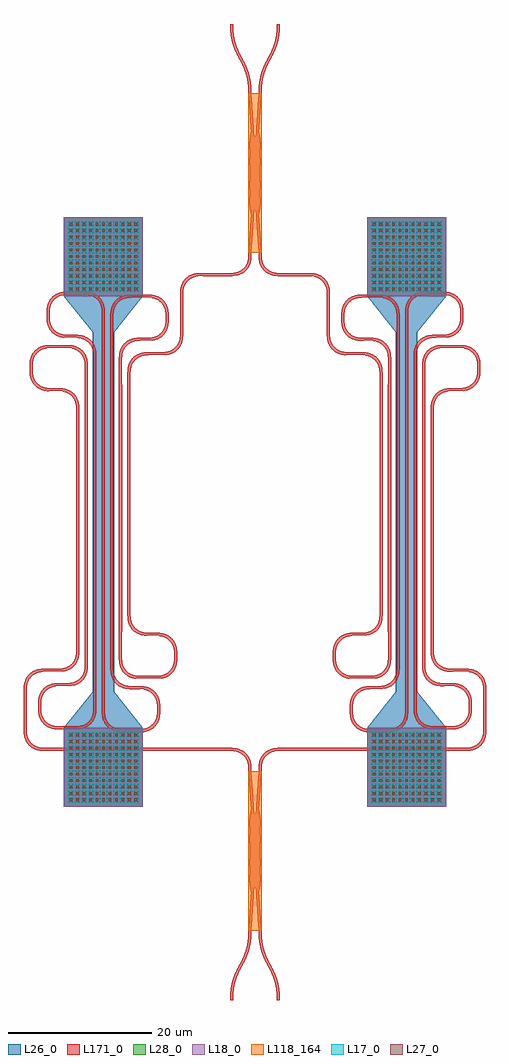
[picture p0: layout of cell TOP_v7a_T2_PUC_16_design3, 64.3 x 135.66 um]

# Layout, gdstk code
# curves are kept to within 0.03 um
import gdstk
lib = gdstk.Library(unit=1e-6, precision=1e-09)
def R(c, l, rs):  # rectangles x0, y0, x1, y1
    for r in rs: c.add(gdstk.rectangle(r[:2], r[2:], *l))
def A(c, l, x, y, w, h, nx, ny, dx, dy):  # array of equal rectangles
    R(c, l, [(x+i*dx, y+j*dy, x+i*dx+w, y+j*dy+h) for i in range(nx) for j in range(ny)])
def P(c, l, *ps):  # polygons
    for p in ps: c.add(gdstk.Polygon(p, *l))
L17_0 = (17, 0)
L18_0 = (18, 0)
L26_0 = (26, 0)
L27_0 = (27, 0)
L28_0 = (28, 0)
L118_164 = (118, 164)
L171_0 = (171, 0)

top_v7a_t2_puc_16_design = lib.new_cell('TOP_v7a_T2_PUC_16_design3')
A(top_v7a_t2_puc_16_design, L17_0, -25.975, -40.4, 0.2, 0.2, 21, 21, 0.48, 0.48)
A(top_v7a_t2_puc_16_design, L17_0, 16.175, -40.4, 0.2, 0.2, 21, 21, 0.48, 0.48)
A(top_v7a_t2_puc_16_design, L17_0, -25.975, 30.6, 0.2, 0.2, 21, 21, 0.48, 0.48)
A(top_v7a_t2_puc_16_design, L17_0, 16.175, 30.6, 0.2, 0.2, 21, 21, 0.48, 0.48)
R(top_v7a_t2_puc_16_design, L18_0, [(-26.575,-41,-15.575,-30), (15.575,-41,26.575,-30), (-26.575,30,-15.575,41), (15.575,30,26.575,41)])
R(top_v7a_t2_puc_16_design, L26_0, [(-26.575,-41,-15.575,-30), (15.575,-41,26.575,-30), (-22.575,-25,-19.575,25), (19.575,-25,22.575,25), (-26.575,30,-15.575,41), (15.575,30,26.575,41)])
P(top_v7a_t2_puc_16_design, L26_0, [(19.575,25),(15.575,30),(26.575,30),(22.575,25)],
  [(15.575,-30),(19.575,-25),(22.575,-25),(26.575,-30)],
  [(-22.575,25),(-26.575,30),(-15.575,30),(-19.575,25)],
  [(-26.575,-30),(-22.575,-25),(-19.575,-25),(-15.575,-30)])
A(top_v7a_t2_puc_16_design, L27_0, -25.755, -40.18, 0.36, 0.36, 11, 11, 0.9, 0.9)
A(top_v7a_t2_puc_16_design, L27_0, 16.395, -40.18, 0.36, 0.36, 11, 11, 0.9, 0.9)
A(top_v7a_t2_puc_16_design, L27_0, -25.755, 30.82, 0.36, 0.36, 11, 11, 0.9, 0.9)
A(top_v7a_t2_puc_16_design, L27_0, 16.395, 30.82, 0.36, 0.36, 11, 11, 0.9, 0.9)
R(top_v7a_t2_puc_16_design, L28_0, [(-26.575,-41,-15.575,-30), (15.575,-41,26.575,-30), (-26.575,30,-15.575,41), (15.575,30,26.575,41)])
R(top_v7a_t2_puc_16_design, L118_164, [(-0.91,-58.2,0.91,-36), (-0.91,36,0.91,58.2)])
R(top_v7a_t2_puc_16_design, L171_0, [(-28.945,-33.205,-3.705,-32.795), (3.705,-33.205,28.945,-32.795), (-7.205,32.795,-3.705,33.205), (3.705,32.795,7.205,33.205)])
P(top_v7a_t2_puc_16_design, L171_0, [(16.222,-30.616),(15.387,-30.565),(14.803,-30.409),(14.237,-30.096),(13.77,-29.649),(13.479,-29.195),(13.266,-28.579),(13.192,-27.968),(13.195,-26.796),(13.291,-26.132),(13.479,-25.625),(13.839,-25.088),(14.281,-24.692),(14.803,-24.411),(15.387,-24.255),(17.625,-24.179),(18.059,-24.101),(18.411,-23.971),(18.883,-23.668),(19.289,-23.216),(19.54,-22.713),(19.659,-22.145),(19.659,27.735),(19.568,28.214),(19.387,28.646),(19.148,28.993),(18.81,29.317),(18.453,29.541),(18.059,29.691),(17.625,29.769),(17.086,29.794),(14.617,29.781),(14.131,29.715),(13.727,29.581),(13.285,29.317),(12.86,28.882),(12.588,28.391),(12.448,27.832),(12.415,26.607),(12.49,25.926),(12.708,25.354),(13.074,24.869),(13.559,24.503),(14.131,24.285),(14.665,24.216),(16.653,24.163),(17.242,24.018),(17.724,23.778),(18.256,23.322),(18.662,22.687),(18.86,22.003),(18.911,21.168),(18.934,-12.222),(18.911,-20.168),(18.868,-20.948),(18.704,-21.587),(18.359,-22.196),(17.858,-22.686),(17.242,-23.018),(16.708,-23.155),(16.152,-23.202),(13.573,-23.202),(12.797,-23.112),(12.187,-22.886),(11.658,-22.515),(11.242,-22.019),(10.966,-21.435),(10.825,-20.614),(10.825,-19.386),(10.935,-18.668),(11.159,-18.12),(11.434,-17.719),(11.739,-17.414),(12.14,-17.139),(12.585,-16.946),(13.406,-16.805),(15.352,-16.757),(15.823,-16.65),(16.166,-16.497),(16.583,-16.195),(16.945,-15.767),(17.17,-15.303),(17.289,-14.735),(17.304,19.54),(17.211,20.169),(16.97,20.727),(16.583,21.195),(16.083,21.541),(15.689,21.691),(15.255,21.769),(12.647,21.802),(11.927,21.901),(11.518,22.043),(11.096,22.282),(10.803,22.522),(10.487,22.891),(10.151,23.565),(10.01,24.386),(10,30),(10.41,30),(10.424,24.412),(10.555,23.697),(10.888,23.08),(11.142,22.805),(11.438,22.575),(11.77,22.401),(12.131,22.285),(12.812,22.21),(15.302,22.182),(15.852,22.085),(16.305,21.911),(16.882,21.515),(17.326,20.974),(17.605,20.332),(17.715,19.614),(17.726,-14.168),(17.69,-14.893),(17.538,-15.537),(17.268,-16.065),(16.882,-16.515),(16.4,-16.861),(15.955,-17.054),(15.468,-17.163),(13.48,-17.216),(12.806,-17.322),(12.457,-17.459),(12.1,-17.683),(11.793,-17.972),(11.57,-18.273),(11.342,-18.786),(11.239,-19.412),(11.236,-20.54),(11.342,-21.214),(11.595,-21.767),(11.957,-22.195),(12.415,-22.519),(12.946,-22.715),(13.627,-22.79),(15.901,-22.794),(16.537,-22.757),(17.008,-22.65),(17.587,-22.345),(18.022,-21.92),(18.322,-21.391),(18.462,-20.832),(18.5,-20.049),(18.499,21.196),(18.439,21.978),(18.246,22.563),(17.9,23.063),(17.392,23.474),(17.008,23.65),(16.489,23.763),(14.591,23.805),(13.927,23.901),(13.278,24.166),(12.727,24.598),(12.319,25.167),(12.081,25.831),(12.003,26.553),(12.042,27.948),(12.206,28.587),(12.519,29.153),(12.966,29.62),(13.518,29.957),(14.036,30.124),(14.591,30.195),(17.337,30.202),(17.893,30.155),(18.325,30.054),(18.77,29.861),(19.212,29.551),(19.544,29.196),(19.801,28.785),(19.975,28.332),(20.072,27.782),(20.096,-21.578),(20.06,-22.303),(19.908,-22.947),(19.608,-23.519),(19.212,-23.961),(18.675,-24.321),(18.222,-24.495),(17.783,-24.58),(15.85,-24.626),(15.364,-24.685),(14.827,-24.869),(14.397,-25.152),(13.965,-25.643),(13.712,-26.196),(13.609,-26.822),(13.6,-27.803),(13.647,-28.339),(13.74,-28.713),(13.916,-29.097),(14.132,-29.403),(14.47,-29.727),(14.827,-29.951),(15.221,-30.101),(15.655,-30.179),(18.468,-30.2),(18.956,-30.16),(19.334,-30.074),(19.802,-29.86),(20.206,-29.541),(20.549,-29.097),(20.766,-28.579),(20.844,-28.145),(20.87,-27.459),(20.87,0),(21.28,0),(21.27,-28.024),(21.16,-28.742),(20.881,-29.384),(20.437,-29.925),(19.86,-30.321),(19.407,-30.495),(18.801,-30.597)],
  [(25.092,-30.206),(24.367,-30.17),(23.877,-30.07),(23.38,-29.861),(22.938,-29.551),(22.574,-29.153),(22.303,-28.687),(22.136,-28.169),(22.065,-27.614),(22.065,22.024),(22.175,22.742),(22.426,23.337),(22.858,23.888),(23.38,24.271),(23.825,24.464),(24.367,24.58),(26.3,24.626),(26.786,24.685),(27.323,24.869),(27.788,25.183),(28.185,25.643),(28.438,26.196),(28.541,26.822),(28.55,27.803),(28.503,28.339),(28.41,28.713),(28.234,29.097),(28.018,29.403),(27.68,29.727),(27.323,29.951),(26.929,30.101),(26.495,30.179),(23.682,30.2),(23.194,30.16),(22.816,30.074),(22.348,29.86),(21.944,29.541),(21.601,29.097),(21.384,28.579),(21.306,28.145),(21.28,27.459),(21.28,0),(20.87,0),(20.893,28.192),(20.99,28.742),(21.164,29.195),(21.421,29.606),(21.753,29.961),(22.195,30.271),(22.64,30.464),(23.072,30.565),(23.628,30.612),(26.653,30.58),(27.297,30.428),(27.825,30.158),(28.162,29.888),(28.414,29.606),(28.778,28.947),(28.942,28.192),(28.965,27.131),(28.915,26.407),(28.717,25.723),(28.414,25.214),(27.956,24.756),(27.447,24.453),(26.874,24.275),(26.318,24.212),(24.525,24.179),(24.091,24.101),(23.697,23.951),(23.267,23.668),(22.861,23.216),(22.61,22.713),(22.491,22.145),(22.466,-27.196),(22.491,-27.735),(22.569,-28.169),(22.719,-28.563),(22.943,-28.92),(23.267,-29.258),(23.573,-29.474),(23.957,-29.65),(24.331,-29.743),(25.064,-29.794),(27.141,-29.794),(27.68,-29.769),(28.114,-29.691),(28.508,-29.541),(28.827,-29.345),(29.14,-29.063),(29.37,-28.767),(29.544,-28.435),(29.66,-28.074),(29.739,-27.196),(29.714,-26.265),(29.595,-25.697),(29.344,-25.194),(28.938,-24.742),(28.508,-24.459),(27.971,-24.275),(27.485,-24.216),(25.552,-24.17),(25.113,-24.085),(24.66,-23.911),(24.123,-23.551),(23.727,-23.109),(23.446,-22.587),(23.282,-21.948),(23.24,-21.279),(23.22,-15.545),(23.215,11.212),(23.239,20.168),(23.29,21.003),(23.446,21.587),(23.791,22.196),(24.249,22.654),(24.858,22.999),(25.331,23.135),(25.887,23.198),(28.744,23.195),(29.299,23.124),(29.817,22.957),(30.239,22.718),(30.608,22.402),(30.908,22.019),(31.148,21.537),(31.285,21.003),(31.332,20.447),(31.325,19.386),(31.215,18.668),(30.908,17.981),(30.452,17.449),(29.915,17.089),(29.299,16.876),(28.688,16.802),(26.895,16.769),(26.461,16.691),(26.152,16.581),(25.71,16.317),(25.313,15.92),(25.049,15.478),(24.887,14.929),(24.835,14.049),(24.836,-19.196),(24.896,-19.978),(25.089,-20.563),(25.499,-21.131),(25.984,-21.497),(26.416,-21.678),(26.895,-21.769),(29.503,-21.802),(30.223,-21.901),(30.632,-22.043),(31.054,-22.282),(31.423,-22.598),(31.723,-22.981),(31.944,-23.413),(32.057,-23.777),(32.132,-24.274),(32.151,-24.832),(32.15,-30),(31.74,-30),(31.729,-24.46),(31.623,-23.786),(31.344,-23.194),(31.076,-22.869),(30.751,-22.601),(30.423,-22.419),(30.019,-22.285),(29.338,-22.21),(26.848,-22.182),(26.298,-22.085),(25.75,-21.861),(25.152,-21.402),(24.719,-20.785),(24.495,-20.114),(24.425,-19.279),(24.424,14.168),(24.475,15.003),(24.631,15.587),(24.912,16.109),(25.308,16.551),(25.845,16.911),(26.298,17.085),(26.737,17.17),(28.67,17.216),(29.156,17.275),(29.693,17.459),(30.193,17.805),(30.604,18.313),(30.845,18.926),(30.924,19.804),(30.873,20.929),(30.711,21.478),(30.447,21.92),(30.05,22.317),(29.521,22.617),(29.156,22.725),(28.67,22.784),(26.249,22.794),(25.71,22.769),(25.276,22.691),(24.882,22.541),(24.525,22.317),(24.187,21.993),(23.948,21.646),(23.767,21.214),(23.682,20.784),(23.65,20.049),(23.65,-21.049),(23.688,-21.832),(23.828,-22.391),(24.1,-22.882),(24.525,-23.317),(24.967,-23.581),(25.276,-23.691),(25.71,-23.769),(27.948,-23.845),(28.532,-24.001),(29.098,-24.314),(29.565,-24.761),(29.902,-25.313),(30.08,-25.886),(30.147,-26.553),(30.132,-27.726),(29.999,-28.435),(29.856,-28.785),(29.631,-29.153),(29.347,-29.478),(29.054,-29.718),(28.482,-30.018),(27.838,-30.17)],
  [(-18.243,-30.616),(-18.857,-30.592),(-19.407,-30.495),(-19.86,-30.321),(-20.314,-30.03),(-20.695,-29.649),(-20.986,-29.195),(-21.16,-28.742),(-21.257,-28.192),(-21.28,0),(-20.87,0),(-20.87,-27.459),(-20.844,-28.145),(-20.766,-28.579),(-20.549,-29.097),(-20.206,-29.541),(-19.762,-29.884),(-19.244,-30.101),(-18.81,-30.179),(-18.124,-30.205),(-15.997,-30.2),(-15.316,-30.125),(-14.869,-29.971),(-14.47,-29.727),(-14.132,-29.403),(-13.893,-29.056),(-13.74,-28.713),(-13.64,-28.291),(-13.6,-27.017),(-13.665,-26.384),(-13.829,-25.889),(-14.132,-25.417),(-14.508,-25.065),(-14.955,-24.811),(-15.461,-24.667),(-17.672,-24.592),(-18.222,-24.495),(-18.675,-24.321),(-19.212,-23.961),(-19.608,-23.519),(-19.908,-22.947),(-20.06,-22.303),(-20.096,-21.578),(-20.096,27.168),(-20.053,27.948),(-19.944,28.435),(-19.751,28.88),(-19.441,29.322),(-19.086,29.654),(-18.675,29.911),(-18.222,30.085),(-17.672,30.182),(-17.058,30.206),(-14.591,30.195),(-14.036,30.124),(-13.518,29.957),(-12.966,29.62),(-12.519,29.153),(-12.206,28.587),(-12.042,27.948),(-12.003,26.553),(-12.081,25.831),(-12.319,25.167),(-12.727,24.598),(-13.278,24.166),(-13.927,23.901),(-14.591,23.805),(-16.489,23.763),(-17.008,23.65),(-17.392,23.474),(-17.9,23.063),(-18.246,22.563),(-18.439,21.978),(-18.499,21.196),(-18.5,-20.049),(-18.462,-20.832),(-18.322,-21.391),(-18.022,-21.92),(-17.587,-22.345),(-17.008,-22.65),(-16.537,-22.757),(-15.901,-22.794),(-13.627,-22.79),(-12.994,-22.725),(-12.457,-22.541),(-12.027,-22.258),(-11.621,-21.806),(-11.37,-21.303),(-11.239,-20.588),(-11.236,-19.46),(-11.329,-18.831),(-11.546,-18.313),(-11.762,-18.007),(-12.1,-17.683),(-12.457,-17.459),(-12.806,-17.322),(-13.48,-17.216),(-15.468,-17.163),(-15.955,-17.054),(-16.4,-16.861),(-16.882,-16.515),(-17.268,-16.065),(-17.538,-15.537),(-17.69,-14.893),(-17.726,-14.168),(-17.715,19.614),(-17.605,20.332),(-17.326,20.974),(-16.882,21.515),(-16.305,21.911),(-15.852,22.085),(-15.302,22.182),(-12.812,22.21),(-12.131,22.285),(-11.77,22.401),(-11.438,22.575),(-11.142,22.805),(-10.888,23.08),(-10.555,23.697),(-10.424,24.412),(-10.41,30),(-10,30),(-10.01,24.386),(-10.151,23.565),(-10.487,22.891),(-10.727,22.598),(-11.096,22.282),(-11.518,22.043),(-11.927,21.901),(-12.647,21.802),(-15.255,21.769),(-15.689,21.691),(-16.083,21.541),(-16.583,21.195),(-16.97,20.727),(-17.211,20.169),(-17.304,19.54),(-17.289,-14.735),(-17.17,-15.303),(-16.945,-15.767),(-16.583,-16.195),(-16.166,-16.497),(-15.823,-16.65),(-15.352,-16.757),(-13.406,-16.805),(-12.585,-16.946),(-12.14,-17.139),(-11.739,-17.414),(-11.434,-17.719),(-11.159,-18.12),(-10.935,-18.668),(-10.825,-19.386),(-10.825,-20.614),(-10.966,-21.435),(-11.242,-22.019),(-11.658,-22.515),(-12.187,-22.886),(-12.797,-23.112),(-13.573,-23.202),(-16.152,-23.202),(-16.708,-23.155),(-17.242,-23.018),(-17.858,-22.686),(-18.359,-22.196),(-18.704,-21.587),(-18.868,-20.948),(-18.911,-20.168),(-18.934,-12.222),(-18.911,21.168),(-18.86,22.003),(-18.662,22.687),(-18.256,23.322),(-17.724,23.778),(-17.242,24.018),(-16.653,24.163),(-14.665,24.216),(-14.131,24.285),(-13.559,24.503),(-13.074,24.869),(-12.708,25.354),(-12.49,25.926),(-12.415,26.607),(-12.448,27.832),(-12.555,28.303),(-12.731,28.687),(-12.978,29.028),(-13.323,29.345),(-13.727,29.581),(-14.131,29.715),(-15.156,29.795),(-17.478,29.781),(-17.964,29.715),(-18.368,29.581),(-18.81,29.317),(-19.235,28.882),(-19.507,28.391),(-19.647,27.832),(-19.685,27.049),(-19.659,-22.145),(-19.54,-22.713),(-19.289,-23.216),(-18.883,-23.668),(-18.453,-23.951),(-18.059,-24.101),(-17.625,-24.179),(-15.832,-24.212),(-15.276,-24.275),(-14.703,-24.453),(-14.194,-24.756),(-13.736,-25.214),(-13.433,-25.723),(-13.255,-26.296),(-13.188,-26.963),(-13.203,-28.136),(-13.336,-28.845),(-13.479,-29.195),(-13.704,-29.563),(-13.988,-29.888),(-14.281,-30.128),(-14.853,-30.428),(-15.497,-30.58)],
  [(-27.113,-30.206),(-27.948,-30.155),(-28.532,-29.999),(-29.098,-29.686),(-29.565,-29.239),(-29.856,-28.785),(-30.069,-28.169),(-30.143,-27.558),(-30.14,-26.386),(-30.044,-25.722),(-29.856,-25.215),(-29.496,-24.678),(-29.054,-24.282),(-28.532,-24.001),(-27.948,-23.845),(-25.71,-23.769),(-25.276,-23.691),(-24.967,-23.581),(-24.525,-23.317),(-24.1,-22.882),(-23.828,-22.391),(-23.688,-21.832),(-23.65,-21.049),(-23.676,20.735),(-23.754,21.169),(-23.904,21.563),(-24.128,21.92),(-24.452,22.258),(-24.758,22.474),(-25.142,22.65),(-25.516,22.743),(-26.052,22.79),(-28.67,22.784),(-29.108,22.734),(-29.477,22.634),(-29.936,22.399),(-30.388,21.993),(-30.711,21.478),(-30.873,20.929),(-30.924,19.804),(-30.845,18.926),(-30.604,18.313),(-30.193,17.805),(-29.693,17.459),(-29.156,17.275),(-28.67,17.216),(-26.737,17.17),(-26.298,17.085),(-25.845,16.911),(-25.308,16.551),(-24.912,16.109),(-24.631,15.587),(-24.475,15.003),(-24.424,14.168),(-24.425,-19.279),(-24.495,-20.114),(-24.719,-20.785),(-25.152,-21.402),(-25.75,-21.861),(-26.298,-22.085),(-26.848,-22.182),(-29.338,-22.21),(-30.019,-22.285),(-30.423,-22.419),(-30.751,-22.601),(-31.076,-22.869),(-31.344,-23.194),(-31.623,-23.786),(-31.729,-24.46),(-31.74,-30),(-32.15,-30),(-32.151,-24.832),(-32.132,-24.274),(-32.057,-23.777),(-31.944,-23.413),(-31.723,-22.981),(-31.423,-22.598),(-31.054,-22.282),(-30.632,-22.043),(-30.223,-21.901),(-29.503,-21.802),(-26.895,-21.769),(-26.416,-21.678),(-25.984,-21.497),(-25.499,-21.131),(-25.089,-20.563),(-24.896,-19.978),(-24.836,-19.196),(-24.835,14.049),(-24.887,14.929),(-25.049,15.478),(-25.313,15.92),(-25.71,16.317),(-26.152,16.581),(-26.461,16.691),(-26.895,16.769),(-28.688,16.802),(-29.299,16.876),(-29.915,17.089),(-30.452,17.449),(-30.908,17.981),(-31.215,18.668),(-31.325,19.386),(-31.325,20.614),(-31.254,21.169),(-31.087,21.687),(-30.848,22.109),(-30.532,22.478),(-30.149,22.778),(-29.717,22.999),(-29.244,23.135),(-28.688,23.198),(-25.887,23.198),(-25.331,23.135),(-24.858,22.999),(-24.249,22.654),(-23.791,22.196),(-23.446,21.587),(-23.29,21.003),(-23.239,20.168),(-23.215,11.212),(-23.22,-15.545),(-23.24,-21.279),(-23.282,-21.948),(-23.446,-22.587),(-23.727,-23.109),(-24.123,-23.551),(-24.66,-23.911),(-25.113,-24.085),(-25.552,-24.17),(-27.485,-24.216),(-27.971,-24.275),(-28.508,-24.459),(-28.938,-24.742),(-29.344,-25.194),(-29.595,-25.697),(-29.714,-26.265),(-29.739,-27.196),(-29.66,-28.074),(-29.544,-28.435),(-29.37,-28.767),(-29.14,-29.063),(-28.827,-29.345),(-28.508,-29.541),(-28.114,-29.691),(-27.68,-29.769),(-27.141,-29.794),(-25.064,-29.794),(-24.331,-29.743),(-23.957,-29.65),(-23.573,-29.474),(-23.267,-29.258),(-22.943,-28.92),(-22.719,-28.563),(-22.569,-28.169),(-22.491,-27.735),(-22.466,-27.196),(-22.491,22.145),(-22.61,22.713),(-22.861,23.216),(-23.267,23.668),(-23.697,23.951),(-24.091,24.101),(-24.525,24.179),(-26.318,24.212),(-26.874,24.275),(-27.447,24.453),(-27.956,24.756),(-28.414,25.214),(-28.759,25.823),(-28.915,26.407),(-28.966,27.242),(-28.93,28.303),(-28.759,28.997),(-28.594,29.337),(-28.346,29.691),(-28.082,29.961),(-27.734,30.216),(-27.195,30.464),(-26.542,30.592),(-23.461,30.605),(-22.906,30.534),(-22.488,30.409),(-22.056,30.188),(-21.673,29.888),(-21.357,29.519),(-21.118,29.097),(-20.976,28.688),(-20.888,28.136),(-20.87,0),(-21.28,0),(-21.28,27.459),(-21.306,28.145),(-21.384,28.579),(-21.601,29.097),(-21.944,29.541),(-22.348,29.86),(-22.816,30.074),(-23.194,30.16),(-23.682,30.2),(-26.495,30.179),(-26.929,30.101),(-27.323,29.951),(-27.68,29.727),(-27.955,29.473),(-28.185,29.177),(-28.377,28.801),(-28.485,28.436),(-28.544,27.95),(-28.544,26.87),(-28.451,26.241),(-28.21,25.683),(-27.823,25.215),(-27.365,24.891),(-26.834,24.695),(-26.3,24.626),(-24.312,24.573),(-23.825,24.464),(-23.333,24.244),(-22.782,23.812),(-22.399,23.29),(-22.161,22.688),(-22.058,21.857),(-22.078,-27.782),(-22.206,-28.435),(-22.512,-29.065),(-22.938,-29.551),(-23.475,-29.911),(-23.928,-30.085),(-24.534,-30.187)],
  [(-0.91,-58.2),(-0.536,-53.01),(-0.731,-51.907),(-0.792,-50.855),(-0.741,-50.137),(-0.779,-48.59),(-0.728,-47.541),(-0.779,-45.61),(-0.739,-44.173),(-0.79,-43.234),(-0.731,-42.293),(-0.664,-41.795),(-0.575,-41.574),(-0.537,-41.136),(-0.91,-36),(-0.5,-36),(-0.144,-41.572),(-0.095,-41.866),(0,-41.972),(0.095,-41.866),(0.144,-41.572),(0.5,-36),(0.91,-36),(0.536,-41.19),(0.731,-42.293),(0.792,-43.345),(0.741,-44.063),(0.779,-45.61),(0.728,-46.659),(0.779,-48.59),(0.739,-50.027),(0.79,-50.966),(0.731,-51.907),(0.664,-52.405),(0.575,-52.626),(0.537,-53.064),(0.91,-58.2),(0.5,-58.2),(0.144,-52.628),(0.095,-52.334),(0,-52.228),(-0.095,-52.334),(-0.144,-52.628),(-0.5,-58.2)],
  [(-0.91,36),(-0.536,41.19),(-0.731,42.293),(-0.792,43.345),(-0.741,44.063),(-0.779,45.61),(-0.728,46.659),(-0.779,48.59),(-0.739,50.027),(-0.79,50.966),(-0.731,51.907),(-0.664,52.405),(-0.575,52.626),(-0.537,53.064),(-0.91,58.2),(-0.5,58.2),(-0.144,52.628),(-0.095,52.334),(0,52.228),(0.095,52.334),(0.144,52.628),(0.5,58.2),(0.91,58.2),(0.536,53.01),(0.731,51.907),(0.792,50.855),(0.741,50.137),(0.779,48.59),(0.728,47.541),(0.779,45.61),(0.739,44.173),(0.79,43.234),(0.731,42.293),(0.664,41.795),(0.575,41.574),(0.537,41.136),(0.91,36),(0.5,36),(0.144,41.572),(0.095,41.866),(0,41.972),(-0.095,41.866),(-0.144,41.572),(-0.5,36)],
  [(3.05,-67.83),(2.96,-66.382),(2.681,-65.093),(2.261,-64.014),(1.212,-61.924),(0.801,-60.752),(0.581,-59.602),(0.5,-58.2),(0.91,-58.2),(1,-59.648),(1.279,-60.937),(1.699,-62.016),(2.748,-64.106),(3.159,-65.278),(3.379,-66.428),(3.46,-67.83)],
  [(-3.46,-67.83),(-3.355,-66.25),(-3.061,-64.939),(-2.675,-63.943),(-1.648,-61.905),(-1.279,-60.937),(-1,-59.648),(-0.91,-58.2),(-0.5,-58.2),(-0.605,-59.78),(-0.899,-61.091),(-1.285,-62.087),(-2.312,-64.125),(-2.681,-65.093),(-2.96,-66.382),(-3.05,-67.83)],
  [(0.5,58.2),(0.605,59.78),(0.899,61.091),(1.285,62.087),(2.312,64.125),(2.681,65.093),(2.96,66.382),(3.05,67.83),(3.46,67.83),(3.355,66.25),(3.061,64.939),(2.675,63.943),(1.648,61.905),(1.279,60.937),(1,59.648),(0.91,58.2)],
  [(-0.91,58.2),(-1,59.648),(-1.279,60.937),(-1.699,62.016),(-2.748,64.106),(-3.159,65.278),(-3.379,66.428),(-3.46,67.83),(-3.05,67.83),(-2.96,66.382),(-2.681,65.093),(-2.261,64.014),(-1.212,61.924),(-0.801,60.752),(-0.581,59.602),(-0.5,58.2)],
  [(0.5,-36),(0.523,-35.218),(0.635,-34.617),(0.871,-34.073),(1.227,-33.598),(1.686,-33.222),(2.27,-32.946),(2.923,-32.818),(3.705,-32.795),(3.705,-33.205),(2.97,-33.231),(2.446,-33.336),(1.978,-33.55),(1.574,-33.869),(1.255,-34.273),(1.041,-34.741),(0.936,-35.265),(0.91,-36)],
  [(29.057,-33.206),(28.945,-33.205),(28.945,-32.795),(29.68,-32.769),(30.204,-32.664),(30.672,-32.45),(31.076,-32.131),(31.395,-31.727),(31.609,-31.259),(31.714,-30.735),(31.74,-30),(32.15,-30),(32.127,-30.782),(32.015,-31.383),(31.779,-31.927),(31.423,-32.402),(30.964,-32.778),(30.38,-33.054),(29.838,-33.17)],
  [(-0.91,-36),(-0.936,-35.265),(-1.014,-34.831),(-1.186,-34.395),(-1.447,-34.007),(-1.899,-33.601),(-2.402,-33.35),(-2.97,-33.231),(-3.705,-33.205),(-3.705,-32.795),(-2.923,-32.818),(-2.27,-32.946),(-1.64,-33.252),(-1.154,-33.678),(-0.899,-34.026),(-0.706,-34.413),(-0.523,-35.218),(-0.5,-36)],
  [(-29.113,-33.206),(-29.838,-33.17),(-30.38,-33.054),(-30.964,-32.778),(-31.423,-32.402),(-31.779,-31.927),(-32.015,-31.383),(-32.127,-30.782),(-32.15,-30),(-31.74,-30),(-31.714,-30.735),(-31.609,-31.259),(-31.395,-31.727),(-31.076,-32.131),(-30.672,-32.45),(-30.204,-32.664),(-29.68,-32.769),(-28.945,-32.795),(-28.945,-33.205)],
  [(3.537,32.794),(2.812,32.83),(2.27,32.946),(1.686,33.222),(1.227,33.598),(0.871,34.073),(0.635,34.617),(0.523,35.218),(0.5,36),(0.91,36),(0.936,35.265),(1.041,34.741),(1.255,34.273),(1.574,33.869),(1.978,33.55),(2.446,33.336),(2.97,33.231),(3.705,33.205),(3.705,32.795)],
  [(10,30),(9.974,30.735),(9.896,31.169),(9.724,31.605),(9.463,31.993),(9.011,32.399),(8.508,32.65),(7.94,32.769),(7.205,32.795),(7.205,33.205),(7.987,33.182),(8.64,33.054),(9.27,32.748),(9.756,32.322),(10.011,31.974),(10.204,31.587),(10.387,30.782),(10.41,30)],
  [(-3.593,32.794),(-3.705,32.795),(-3.705,33.205),(-2.97,33.231),(-2.446,33.336),(-1.978,33.55),(-1.574,33.869),(-1.255,34.273),(-1.041,34.741),(-0.936,35.265),(-0.91,36),(-0.5,36),(-0.523,35.218),(-0.635,34.617),(-0.871,34.073),(-1.227,33.598),(-1.686,33.222),(-2.27,32.946),(-2.812,32.83)],
  [(-10.41,30),(-10.387,30.782),(-10.275,31.383),(-10.039,31.927),(-9.683,32.402),(-9.224,32.778),(-8.64,33.054),(-7.987,33.182),(-7.205,33.205),(-7.205,32.795),(-7.94,32.769),(-8.464,32.664),(-8.932,32.45),(-9.336,32.131),(-9.655,31.727),(-9.869,31.259),(-9.974,30.735),(-10,30)])

lib.write_gds('TOP_v7a_T2_PUC_16_design3.gds')
